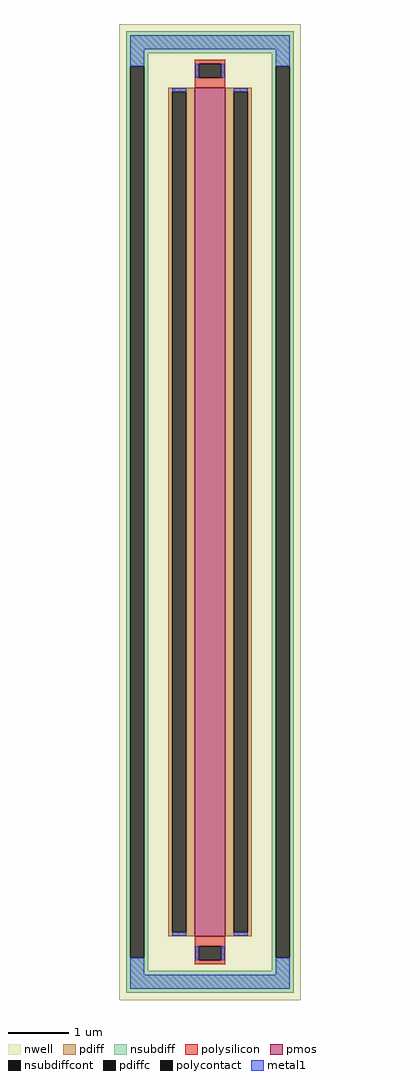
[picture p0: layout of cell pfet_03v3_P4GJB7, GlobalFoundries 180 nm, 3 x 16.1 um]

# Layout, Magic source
magic
tech gf180mcuD
magscale 1 10
<< nwell >>
rect -300 -1610 300 1610
<< pmos >>
rect -50 -1400 50 1400
<< pdiff >>
rect -138 1387 -50 1400
rect -138 -1387 -125 1387
rect -79 -1387 -50 1387
rect -138 -1400 -50 -1387
rect 50 1387 138 1400
rect 50 -1387 79 1387
rect 125 -1387 138 1387
rect 50 -1400 138 -1387
<< pdiffc >>
rect -125 -1387 -79 1387
rect 79 -1387 125 1387
<< nsubdiff >>
rect -276 1514 276 1586
rect -276 1470 -204 1514
rect -276 -1470 -263 1470
rect -217 -1470 -204 1470
rect 204 1470 276 1514
rect -276 -1514 -204 -1470
rect 204 -1470 217 1470
rect 263 -1470 276 1470
rect 204 -1514 276 -1470
rect -276 -1586 276 -1514
<< nsubdiffcont >>
rect -263 -1470 -217 1470
rect 217 -1470 263 1470
<< polysilicon >>
rect -50 1479 50 1492
rect -50 1433 -37 1479
rect 37 1433 50 1479
rect -50 1400 50 1433
rect -50 -1433 50 -1400
rect -50 -1479 -37 -1433
rect 37 -1479 50 -1433
rect -50 -1492 50 -1479
<< polycontact >>
rect -37 1433 37 1479
rect -37 -1479 37 -1433
<< metal1 >>
rect -263 1527 263 1573
rect -263 1470 -217 1527
rect -48 1433 -37 1479
rect 37 1433 48 1479
rect 217 1470 263 1527
rect -125 1387 -79 1398
rect -125 -1398 -79 -1387
rect 79 1387 125 1398
rect 79 -1398 125 -1387
rect -263 -1527 -217 -1470
rect -48 -1479 -37 -1433
rect 37 -1479 48 -1433
rect 217 -1527 263 -1470
rect -263 -1573 263 -1527
<< properties >>
string FIXED_BBOX -240 -1550 240 1550
string gencell pfet_03v3
string library gf180mcu
string parameters w 14.0 l 0.5 m 1 nf 1 diffcov 100 polycov 100 guard 1 glc 1 grc 1 gtc 0 gbc 0 tbcov 100 rlcov 100 topc 1 botc 1 poverlap 0 doverlap 1 lmin 0.28 wmin 0.22 class mosfet full_metal 1 compatible {pfet_03v3 pfet_05v0 pfet_06v0} ad {int((nf+1)/2) * W/nf * 0.18u} as {int((nf+2)/2) * W/nf * 0.18u} pd {2*int((nf+1)/2) * (W/nf + 0.18u)} ps {2*int((nf+2)/2) * (W/nf + 0.18u)} nrd {0.18u / W} nrs {0.18u / W} sa 0 sb 0 sd 0
<< end >>
